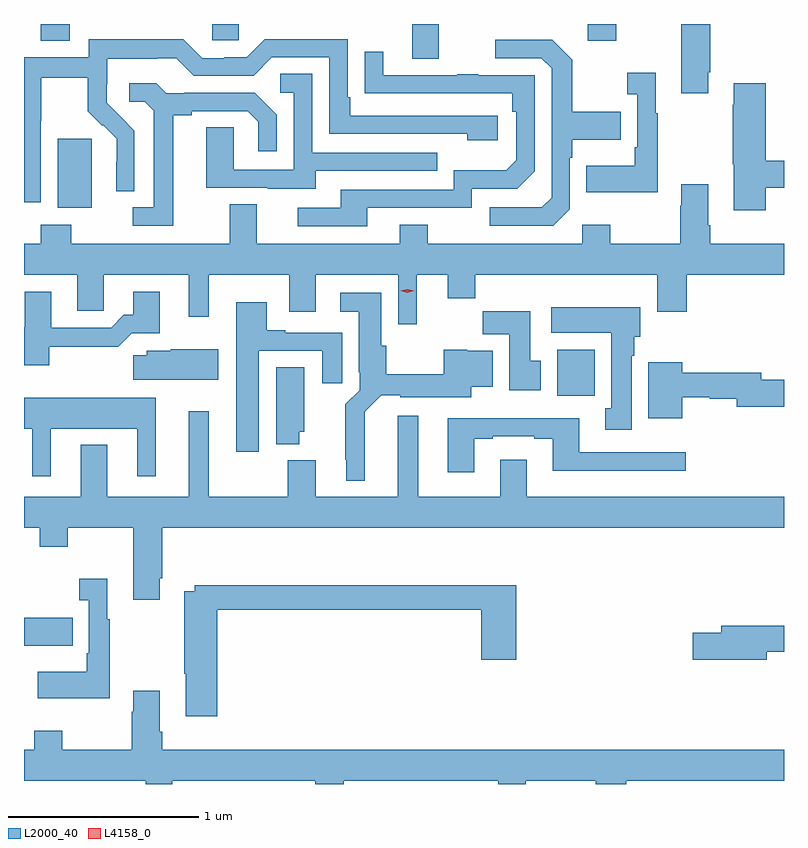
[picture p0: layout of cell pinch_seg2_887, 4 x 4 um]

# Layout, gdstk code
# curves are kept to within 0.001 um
import gdstk
lib = gdstk.Library(unit=1e-6, precision=1e-09)
def R(c, l, rs):  # rectangles x0, y0, x1, y1
    for r in rs: c.add(gdstk.rectangle(r[:2], r[2:], *l))
def P(c, l, *ps):  # polygons
    for p in ps: c.add(gdstk.Polygon(p, *l))
L2000_40 = (2000, 40)
L4158_0 = (4158, 0)

pinch_seg2_887 = lib.new_cell('pinch_seg2_887')
R(pinch_seg2_887, L2000_40, [(376.489,649.679,376.745,649.827), (379.295,650.996,379.492,651.238), (376.667,651.986,376.846,652.347), (378.533,652.77,378.673,652.952), (376.577,652.865,376.729,652.952), (379.457,652.865,379.605,652.952), (377.481,652.866,377.619,652.952)])
P(pinch_seg2_887, L2000_40, [(380.089,652.699),(380.102,652.699),(380.102,652.952),(379.949,652.952),(379.949,652.587),(380.089,652.587)],
  [(376.578,652.444),(376.581,652.444),(376.581,652.668),(376.825,652.668),(376.825,652.493),(376.902,652.416),(376.905,652.419),(376.976,652.349),(376.976,652.226),(376.974,652.226),(376.974,652.072),(377.07,652.072),(377.07,652.39),(376.924,652.538),(376.924,652.635),(376.926,652.635),(376.926,652.769),(377.189,652.769),(377.189,652.773),(377.289,652.773),(377.382,652.68),(377.697,652.68),(377.793,652.776),(378.096,652.776),(378.096,652.374),(378.821,652.374),(378.821,652.34),(378.982,652.34),(378.982,652.47),(378.205,652.47),(378.205,652.567),(378.192,652.567),(378.192,652.872),(377.757,652.872),(377.661,652.776),(377.543,652.776),(377.543,652.773),(377.427,652.773),(377.327,652.873),(376.83,652.873),(376.83,652.776),(376.489,652.776),(376.489,652.015),(376.578,652.015)],
  [(379.362,651.978),(379.362,652.247),(379.375,652.247),(379.375,652.343),(379.631,652.343),(379.631,652.491),(379.375,652.491),(379.375,652.763),(379.269,652.869),(378.969,652.869),(378.969,652.773),(379.212,652.773),(379.266,652.719),(379.266,652.038),(379.215,651.987),(378.939,651.987),(378.939,651.891),(379.275,651.891)],
  [(378.295,651.984),(378.846,651.984),(378.846,652.086),(379.086,652.086),(379.176,652.176),(379.176,652.683),(378.881,652.683),(378.881,652.688),(378.769,652.688),(378.769,652.683),(378.379,652.683),(378.379,652.807),(378.283,652.807),(378.283,652.588),(379.06,652.587),(379.06,652.49),(379.08,652.49),(379.08,652.236),(379.027,652.183),(378.75,652.183),(378.75,652.08),(378.155,652.08),(378.155,651.984),(377.931,651.984),(377.931,651.888),(378.295,651.888)],
  [(379.825,652.483),(379.813,652.483),(379.813,652.696),(379.665,652.696),(379.665,652.583),(379.716,652.583),(379.716,652.303),(379.704,652.303),(379.704,652.207),(379.447,652.207),(379.447,652.067),(379.825,652.067)],
  [(378.025,652.179),(378.665,652.179),(378.665,652.275),(378.006,652.275),(378.006,652.691),(377.838,652.691),(377.838,652.59),(377.91,652.59),(377.91,652.185),(377.592,652.185),(377.592,652.409),(377.447,652.409),(377.447,652.089),(377.771,652.089),(377.771,652.085),(378.025,652.085)],
  [(380.393,652.09),(380.489,652.09),(380.489,652.232),(380.393,652.232),(380.393,652.639),(380.225,652.639),(380.225,652.526),(380.218,652.526),(380.218,652.215),(380.225,652.215),(380.225,651.972),(380.393,651.972)],
  [(377.275,652.472),(377.371,652.472),(377.371,652.494),(377.666,652.494),(377.723,652.437),(377.723,652.281),(377.82,652.281),(377.82,652.474),(377.704,652.59),(377.332,652.59),(377.332,652.587),(377.238,652.587),(377.186,652.639),(377.043,652.639),(377.043,652.542),(377.124,652.542),(377.171,652.495),(377.171,651.987),(377.061,651.987),(377.061,651.891),(377.275,651.891)],
  [(378.556,651.632),(378.719,651.632),(378.719,651.508),(378.863,651.508),(378.863,651.632),(379.823,651.632),(379.823,651.438),(379.976,651.438),(379.976,651.632),(380.489,651.632),(380.489,651.796),(380.102,651.796),(380.102,651.892),(380.089,651.892),(380.089,652.108),(379.949,652.108),(379.949,651.995),(379.942,651.995),(379.942,651.796),(379.575,651.796),(379.575,651.895),(379.428,651.895),(379.428,651.796),(378.615,651.796),(378.615,651.895),(378.467,651.895),(378.467,651.796),(377.713,651.796),(377.713,652.004),(377.573,652.004),(377.573,651.796),(376.737,651.796),(376.737,651.895),(376.577,651.895),(376.577,651.796),(376.489,651.796),(376.489,651.632),(376.769,651.632),(376.769,651.442),(376.908,651.442),(376.908,651.632),(377.357,651.632),(377.357,651.411),(377.461,651.411),(377.461,651.632),(377.885,651.632),(377.885,651.438),(378.025,651.438),(378.025,651.632),(378.459,651.632),(378.459,651.372),(378.556,651.372)],
  [(376.623,651.254),(376.985,651.254),(377.055,651.324),(377.203,651.324),(377.203,651.544),(377.063,651.544),(377.063,651.421),(377.014,651.421),(376.947,651.354),(376.633,651.354),(376.633,651.544),(376.493,651.544),(376.493,651.357),(376.489,651.357),(376.489,651.155),(376.623,651.155)],
  [(378.283,650.912),(378.369,650.999),(378.468,650.999),(378.468,650.987),(378.844,650.987),(378.844,651.044),(378.955,651.044),(378.955,651.232),(378.822,651.232),(378.822,651.238),(378.697,651.238),(378.697,651.109),(378.396,651.109),(378.396,651.258),(378.37,651.258),(378.37,651.538),(378.153,651.538),(378.153,651.437),(378.251,651.437),(378.251,651.118),(378.255,651.118),(378.255,651.024),(378.181,650.95),(378.181,650.659),(378.185,650.659),(378.185,650.549),(378.283,650.549)],
  [(377.725,651.231),(378.059,651.231),(378.059,651.06),(378.163,651.06),(378.163,651.327),(377.863,651.327),(377.863,651.34),(377.767,651.34),(377.767,651.487),(377.606,651.487),(377.606,650.7),(377.725,650.7)],
  [(379.687,651.206),(379.702,651.206),(379.702,651.306),(379.732,651.306),(379.732,651.46),(379.263,651.46),(379.263,651.326),(379.58,651.326),(379.58,650.93),(379.547,650.93),(379.547,650.817),(379.687,650.817)],
  [(379.21,651.18),(379.153,651.18),(379.153,651.439),(378.904,651.439),(378.904,651.32),(379.043,651.32),(379.043,651.024),(379.21,651.024)],
  [(377.512,651.241),(377.262,651.241),(377.262,651.232),(377.136,651.232),(377.136,651.209),(377.064,651.209),(377.064,651.08),(377.512,651.08)],
  [(379.954,650.988),(380.097,650.988),(380.097,650.98),(380.24,650.98),(380.24,650.938),(380.489,650.938),(380.489,651.08),(380.368,651.08),(380.368,651.116),(379.954,651.116),(379.954,651.172),(379.775,651.172),(379.775,650.876),(379.954,650.876)],
  [(377.938,650.805),(377.965,650.805),(377.965,651.146),(377.816,651.146),(377.816,650.741),(377.938,650.741)],
  [(376.63,650.822),(377.084,650.822),(377.084,650.571),(377.182,650.571),(377.182,650.986),(376.489,650.986),(376.489,650.822),(376.532,650.822),(376.532,650.571),(376.63,650.571)],
  [(377.203,650.035),(377.216,650.035),(377.216,650.3),(380.489,650.3),(380.489,650.464),(379.135,650.464),(379.135,650.659),(378.995,650.659),(378.995,650.464),(378.565,650.464),(378.565,650.89),(378.455,650.89),(378.455,650.464),(378.025,650.464),(378.025,650.656),(377.878,650.656),(377.878,650.464),(377.461,650.464),(377.461,650.914),(377.357,650.914),(377.357,650.464),(376.927,650.464),(376.927,650.737),(376.787,650.737),(376.787,650.464),(376.489,650.464),(376.489,650.3),(376.571,650.3),(376.571,650.201),(376.719,650.201),(376.719,650.3),(377.063,650.3),(377.063,649.923),(377.203,649.923)],
  [(378.859,650.769),(378.955,650.769),(378.955,650.781),(379.175,650.781),(379.175,650.769),(379.271,650.769),(379.271,650.6),(379.972,650.6),(379.972,650.697),(379.411,650.697),(379.411,650.878),(378.719,650.878),(378.719,650.592),(378.859,650.592)],
  [(376.939,649.819),(376.927,649.819),(376.927,650.032),(376.779,650.032),(376.779,649.919),(376.83,649.919),(376.83,649.639),(376.818,649.639),(376.818,649.543),(376.561,649.543),(376.561,649.403),(376.939,649.403)],
  [(377.507,649.87),(378.896,649.87),(378.896,649.605),(379.079,649.605),(379.079,649.999),(377.388,649.999),(377.388,649.966),(377.332,649.966),(377.332,649.531),(377.339,649.531),(377.339,649.308),(377.507,649.308)],
  [(380.398,649.648),(380.489,649.648),(380.489,649.784),(380.159,649.784),(380.159,649.748),(380.01,649.748),(380.01,649.606),(380.398,649.606)],
  [(377.269,648.968),(378.023,648.968),(378.023,648.952),(378.171,648.952),(378.171,648.968),(378.984,648.968),(378.984,648.952),(379.131,648.952),(379.131,648.968),(379.498,648.968),(379.498,648.952),(379.658,648.952),(379.658,648.968),(380.489,648.968),(380.489,649.132),(377.216,649.132),(377.216,649.228),(377.203,649.228),(377.203,649.444),(377.063,649.444),(377.063,649.331),(377.056,649.331),(377.056,649.132),(376.689,649.132),(376.689,649.231),(376.542,649.231),(376.542,649.132),(376.489,649.132),(376.489,648.968),(377.129,648.968),(377.129,648.952),(377.269,648.952)])
P(pinch_seg2_887, L4158_0, [(378.506,651.537),(378.471,651.547),(378.471,651.547),(378.471,651.547),(378.506,651.557),(378.541,651.547),(378.542,651.547),(378.541,651.547)])

lib.write_gds('pinch_seg2_887.gds')
